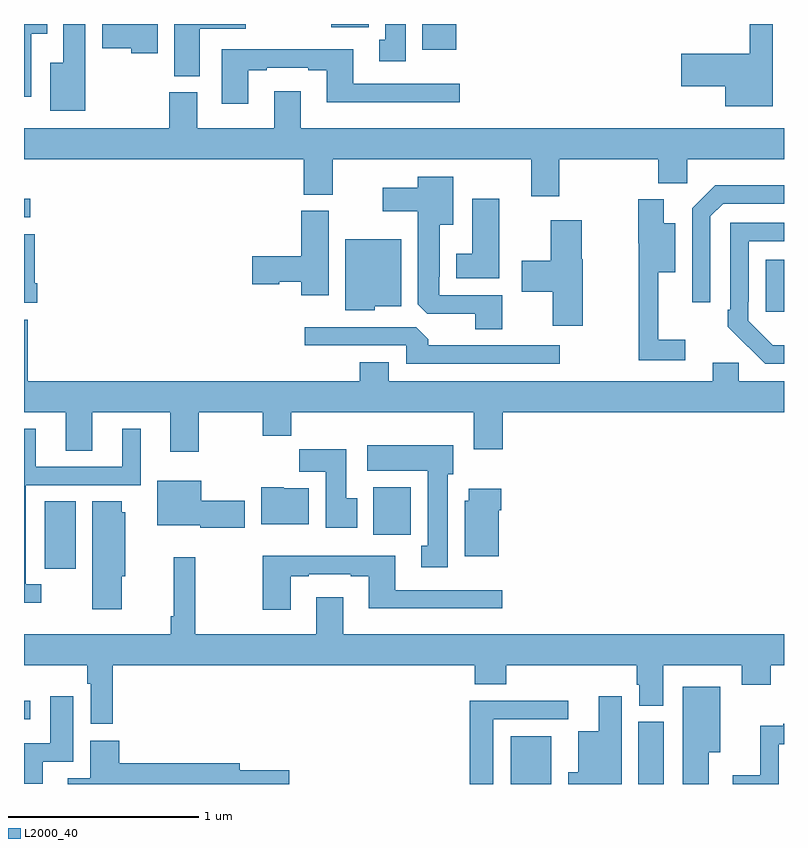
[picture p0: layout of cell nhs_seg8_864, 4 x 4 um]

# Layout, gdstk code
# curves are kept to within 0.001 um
import gdstk
lib = gdstk.Library(unit=1e-6, precision=1e-09)
def R(c, l, rs):  # rectangles x0, y0, x1, y1
    for r in rs: c.add(gdstk.rectangle(r[:2], r[2:], *l))
def P(c, l, *ps):  # polygons
    for p in ps: c.add(gdstk.Polygon(p, *l))
L2000_40 = (2000, 40)

nhs_seg8_864 = lib.new_cell('nhs_seg8_864')
R(nhs_seg8_864, L2000_40, [(169.562,1091.9,169.774,1092.151), (170.234,1091.9,170.368,1092.228), (167,1092.24,167.032,1092.338), (167.108,1093.032,167.272,1093.388), (168.839,1093.212,169.035,1093.462), (170.903,1094.385,171,1094.659), (167,1094.883,167.032,1094.979), (169.097,1095.764,169.276,1095.9), (168.617,1095.884,168.814,1095.9)])
P(nhs_seg8_864, L2000_40, [(167.926,1095.875),(168.166,1095.875),(168.166,1095.9),(167.792,1095.9),(167.792,1095.625),(167.926,1095.625)],
  [(167.038,1095.848),(167.122,1095.848),(167.122,1095.9),(167,1095.9),(167,1095.516),(167.038,1095.516)],
  [(169.009,1095.9),(168.902,1095.9),(168.902,1095.818),(168.869,1095.818),(168.869,1095.705),(169.009,1095.705)],
  [(170.941,1095.9),(170.82,1095.9),(170.82,1095.743),(170.46,1095.743),(170.46,1095.572),(170.69,1095.572),(170.69,1095.467),(170.941,1095.467)],
  [(167.323,1095.9),(167.207,1095.9),(167.207,1095.697),(167.138,1095.697),(167.138,1095.443),(167.323,1095.443)],
  [(167.704,1095.9),(167.411,1095.9),(167.411,1095.773),(167.565,1095.773),(167.565,1095.746),(167.704,1095.746)],
  [(168.181,1095.657),(168.277,1095.657),(168.277,1095.669),(168.497,1095.669),(168.497,1095.657),(168.593,1095.657),(168.593,1095.488),(169.294,1095.488),(169.294,1095.585),(168.733,1095.585),(168.733,1095.766),(168.041,1095.766),(168.041,1095.48),(168.181,1095.48)],
  [(169.818,1095.188),(170.339,1095.188),(170.339,1095.062),(170.49,1095.062),(170.49,1095.188),(171,1095.188),(171,1095.352),(168.457,1095.352),(168.457,1095.547),(168.317,1095.547),(168.317,1095.352),(167.911,1095.352),(167.911,1095.54),(167.764,1095.54),(167.764,1095.352),(167,1095.352),(167,1095.188),(168.473,1095.188),(168.473,1095.001),(168.625,1095.001),(168.625,1095.188),(169.67,1095.188),(169.67,1094.994),(169.818,1094.994)],
  [(169.516,1094.472),(169.185,1094.472),(169.185,1094.569),(169.189,1094.569),(169.189,1094.843),(169.258,1094.843),(169.258,1095.097),(169.073,1095.097),(169.073,1095.037),(168.888,1095.037),(168.888,1094.915),(169.073,1094.915),(169.073,1094.425),(169.122,1094.376),(169.376,1094.376),(169.376,1094.293),(169.516,1094.293)],
  [(170.613,1094.889),(170.679,1094.955),(171,1094.955),(171,1095.052),(170.638,1095.052),(170.517,1094.931),(170.517,1094.436),(170.613,1094.436)],
  [(169.501,1094.98),(169.358,1094.98),(169.358,1094.692),(169.274,1094.692),(169.274,1094.561),(169.501,1094.561)],
  [(170.479,1094.239),(170.339,1094.239),(170.339,1094.594),(170.428,1094.594),(170.428,1094.851),(170.368,1094.851),(170.368,1094.977),(170.233,1094.977),(170.233,1094.747),(170.236,1094.747),(170.236,1094.13),(170.479,1094.13)],
  [(168.604,1094.916),(168.458,1094.916),(168.458,1094.678),(168.201,1094.678),(168.201,1094.531),(168.344,1094.531),(168.344,1094.543),(168.458,1094.543),(168.458,1094.472),(168.604,1094.472)],
  [(169.942,1094.661),(169.935,1094.661),(169.935,1094.866),(169.772,1094.866),(169.772,1094.655),(169.62,1094.655),(169.62,1094.492),(169.784,1094.492),(169.784,1094.313),(169.942,1094.313)],
  [(171,1094.209),(170.94,1094.209),(170.811,1094.337),(170.811,1094.437),(170.814,1094.437),(170.814,1094.757),(171,1094.757),(171,1094.853),(170.718,1094.853),(170.718,1094.395),(170.703,1094.395),(170.703,1094.307),(170.9,1094.112),(171,1094.112)],
  [(167.069,1094.536),(167.056,1094.536),(167.056,1094.794),(167,1094.794),(167,1094.432),(167.069,1094.432)],
  [(168.846,1094.414),(168.985,1094.414),(168.985,1094.767),(168.692,1094.767),(168.692,1094.393),(168.846,1094.393)],
  [(167.919,1093.856),(168.256,1093.856),(168.256,1093.732),(168.407,1093.732),(168.407,1093.856),(169.367,1093.856),(169.367,1093.662),(169.52,1093.662),(169.52,1093.856),(171,1093.856),(171,1094.02),(170.763,1094.02),(170.763,1094.118),(170.624,1094.118),(170.624,1094.02),(168.919,1094.02),(168.919,1094.119),(168.767,1094.119),(168.767,1094.02),(167.021,1094.02),(167.021,1094.344),(167,1094.344),(167,1093.856),(167.219,1093.856),(167.219,1093.654),(167.359,1093.654),(167.359,1093.856),(167.771,1093.856),(167.771,1093.65),(167.919,1093.65)],
  [(169.819,1094.208),(169.127,1094.208),(169.127,1094.242),(169.065,1094.304),(168.477,1094.304),(168.477,1094.208),(169.011,1094.208),(169.011,1094.112),(169.819,1094.112)],
  [(167.092,1092.951),(167.01,1092.951),(167.01,1093.473),(167.614,1093.473),(167.614,1093.771),(167.516,1093.771),(167.516,1093.569),(167.062,1093.569),(167.062,1093.771),(167,1093.771),(167,1092.854),(167.092,1092.854)],
  [(169.231,1093.53),(169.258,1093.53),(169.258,1093.684),(168.807,1093.684),(168.807,1093.55),(169.124,1093.55),(169.124,1093.153),(169.091,1093.153),(169.091,1093.041),(169.231,1093.041)],
  [(168.754,1093.404),(168.697,1093.404),(168.697,1093.663),(168.448,1093.663),(168.448,1093.544),(168.587,1093.544),(168.587,1093.248),(168.754,1093.248)],
  [(168.163,1093.392),(167.932,1093.392),(167.932,1093.495),(167.702,1093.495),(167.702,1093.262),(167.928,1093.262),(167.928,1093.25),(168.163,1093.25)],
  [(168.499,1093.456),(168.366,1093.456),(168.366,1093.462),(168.248,1093.462),(168.248,1093.268),(168.499,1093.268)],
  [(169.498,1093.34),(169.511,1093.34),(169.511,1093.453),(169.34,1093.453),(169.34,1093.392),(169.319,1093.392),(169.319,1093.1),(169.498,1093.1)],
  [(167.515,1092.993),(167.533,1092.993),(167.533,1093.329),(167.515,1093.329),(167.515,1093.388),(167.36,1093.388),(167.36,1092.819),(167.515,1092.819)],
  [(168.403,1092.993),(168.499,1092.993),(168.499,1093.005),(168.719,1093.005),(168.719,1092.993),(168.815,1092.993),(168.815,1092.824),(169.516,1092.824),(169.516,1092.921),(168.955,1092.921),(168.955,1093.102),(168.256,1093.102),(168.256,1092.816),(168.403,1092.816)],
  [(167.468,1092.524),(169.373,1092.524),(169.373,1092.425),(169.538,1092.425),(169.538,1092.524),(170.225,1092.524),(170.225,1092.423),(170.237,1092.423),(170.237,1092.313),(170.365,1092.313),(170.365,1092.524),(170.777,1092.524),(170.777,1092.422),(170.93,1092.422),(170.93,1092.524),(171,1092.524),(171,1092.688),(168.679,1092.688),(168.679,1092.883),(168.539,1092.883),(168.539,1092.688),(167.902,1092.688),(167.902,1093.093),(167.788,1093.093),(167.788,1092.784),(167.773,1092.784),(167.773,1092.688),(167,1092.688),(167,1092.524),(167.332,1092.524),(167.332,1092.428),(167.352,1092.428),(167.352,1092.216),(167.468,1092.216)],
  [(170.605,1092.068),(170.665,1092.068),(170.665,1092.412),(170.468,1092.412),(170.468,1091.9),(170.605,1091.9)],
  [(167.098,1092.018),(167.26,1092.018),(167.26,1092.361),(167.138,1092.361),(167.138,1092.114),(167,1092.114),(167,1091.901),(167.098,1091.901)],
  [(170.146,1092.361),(170.024,1092.361),(170.024,1092.178),(169.916,1092.178),(169.916,1091.962),(169.865,1091.962),(169.865,1091.9),(170.146,1091.9)],
  [(169.471,1092.24),(169.864,1092.24),(169.864,1092.338),(169.346,1092.338),(169.346,1091.9),(169.471,1091.9)],
  [(170.973,1092.108),(171,1092.108),(171,1092.217),(170.996,1092.217),(170.996,1092.206),(170.876,1092.206),(170.876,1091.946),(170.73,1091.946),(170.73,1091.9),(170.973,1091.9)],
  [(168.397,1091.972),(168.136,1091.972),(168.136,1092.008),(167.501,1092.008),(167.501,1092.127),(167.348,1092.127),(167.348,1091.929),(167.231,1091.929),(167.231,1091.9),(168.397,1091.9)])

lib.write_gds('nhs_seg8_864.gds')
